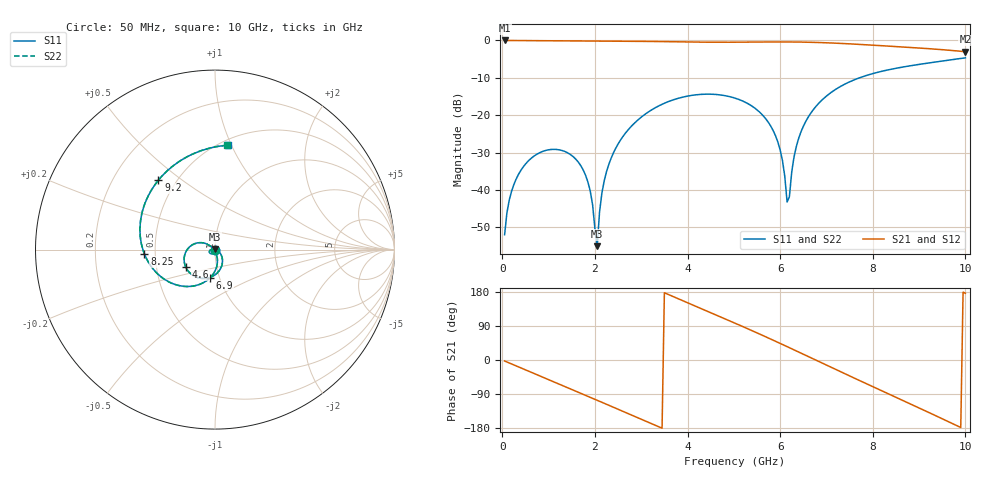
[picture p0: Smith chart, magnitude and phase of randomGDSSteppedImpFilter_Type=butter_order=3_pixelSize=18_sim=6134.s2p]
! freq	dB(S11)	phase(S11)	dB(S12)	phase(S12)
!  dB(S21)	phase(S21)	dB(S22)	phase(S22)
!S-par simulation data
#  GHz  S  DB  R 50
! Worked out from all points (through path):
!   200 points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, 50 MHz to 10 GHz, reference 50 ohm
!   highest |S21| = 0.00 dB at 50 MHz (marker M1); lowest = -3.0 dB at 10 GHz (marker M2)
!   group delay of S21, straight-line fit = 151 ps
!   lowest |S11| = -55.0 dB at 2.05 GHz (marker M3), VSWR 1.00, Z = 50.1 + j0.112 ohm
!   |S11| at or under -10 dB: start of sweep to 7.713 GHz
!   |S22| runs from -54.9 to -4.6 dB; largest |S21 - S12| = 0
!   S11 on the Smith chart (normalised r, x): 50 MHz: 1.00, -0.01; 4.6 GHz: 0.71, -0.14; 6.9 GHz: 0.90, -0.29; 8.25 GHz: 0.44, -0.02; 9.2 GHz: 0.40, +0.41; 10 GHz: 0.55, +0.97
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0.05  -51.95 -89.6  -0.00 -2.6  -0.00 -2.6  -51.95 -89.6
0.25  -38.54 -101.5  -0.02 -13.0  -0.02 -13.0  -38.54 -101.5
0.65  -31.26 -124.3  -0.05 -33.7  -0.05 -33.7  -31.26 -124.3
1.25  -29.31 -156.6  -0.08 -64.8  -0.08 -64.8  -29.31 -156.6
1.75  -34.72 174.8  -0.10 -90.7  -0.10 -90.7  -34.72 174.7
1.9  -40.34 162.7  -0.11 -98.5  -0.11 -98.5  -40.34 162.5
2.05  -55.03 39.2  -0.12 -106.3  -0.12 -106.3  -54.89 39.8
2.15  -40.89 -12.6  -0.13 -111.6  -0.13 -111.6  -40.89 -12.4
2.4  -30.08 -32.4  -0.15 -124.7  -0.15 -124.7  -30.08 -32.3
3.4  -17.37 -86.9  -0.30 -177.3  -0.30 -177.3  -17.37 -86.8
4.6  -14.44 -149.3  -0.48 119.8  -0.48 119.8  -14.44 -149.3
5.05  -15.53 -172.7  -0.47 95.9  -0.47 95.9  -15.53 -172.7
5.85  -24.13 146.9  -0.40 52.2  -0.40 52.2  -24.14 146.9
6.05  -32.12 143.1  -0.40 41.0  -0.40 41.0  -32.13 143.1
6.15  -43.22 179.3  -0.40 35.3  -0.40 35.3  -43.31 179.2
6.35  -28.32 -74.1  -0.42 23.9  -0.42 23.9  -28.32 -73.9
6.7  -18.78 -89.0  -0.50 3.8  -0.50 3.8  -18.78 -88.9
6.9  -15.97 -99.9  -0.58 -7.7  -0.58 -7.7  -15.97 -99.8
8.25  -8.09 -176.5  -1.45 -84.4  -1.45 -84.4  -8.09 -176.4
8.35  -7.82 177.8  -1.52 -90.0  -1.52 -90.0  -7.82 178.0
9.2  -6.04 129.1  -2.19 -137.9  -2.19 -137.9  -6.04 129.3
10  -4.65 83.1  -3.03 176.1  -3.03 176.1  -4.65 83.3
